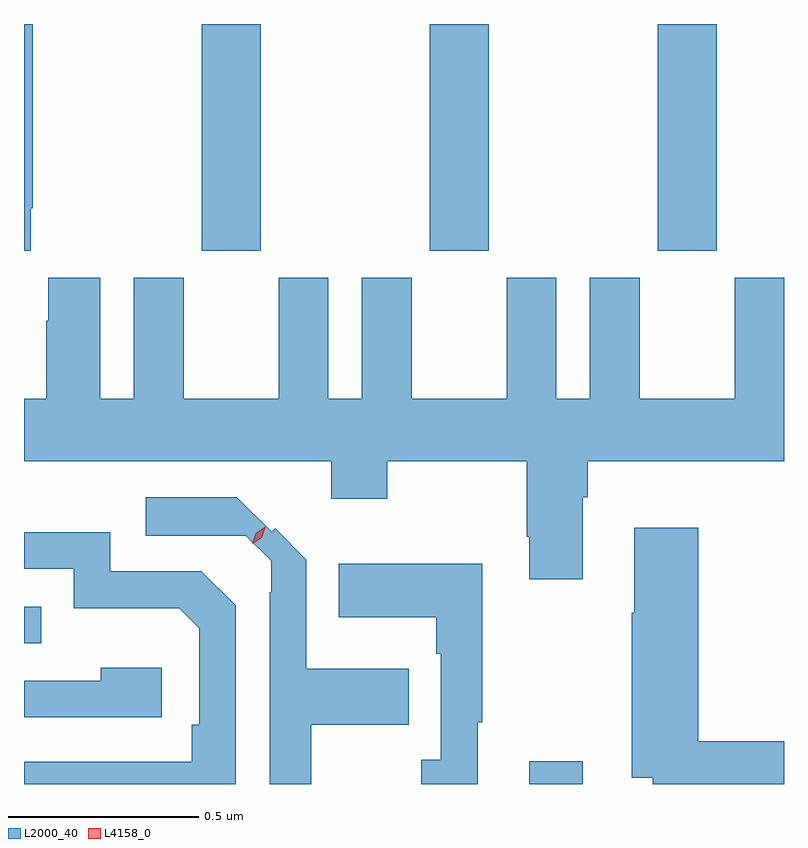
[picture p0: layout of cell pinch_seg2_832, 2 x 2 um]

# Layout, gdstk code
import gdstk
lib = gdstk.Library(unit=1e-6, precision=1e-09)
def R(c, l, rs):  # rectangles x0, y0, x1, y1
    for r in rs: c.add(gdstk.rectangle(r[:2], r[2:], *l))
def A(c, l, x, y, w, h, nx, ny, dx, dy):  # array of equal rectangles
    R(c, l, [(x+i*dx, y+j*dy, x+i*dx+w, y+j*dy+h) for i in range(nx) for j in range(ny)])
def P(c, l, *ps):  # polygons
    for p in ps: c.add(gdstk.Polygon(p, *l))
L2000_40 = (2000, 40)
L4158_0 = (4158, 0)

pinch_seg2_832 = lib.new_cell('pinch_seg2_832')
A(pinch_seg2_832, L2000_40, 681.895, 593.577, 0.155, 0.597, 3, 1, 0.6, 0)
R(pinch_seg2_832, L2000_40, [(682.757,592.174,682.897,592.234), (681.427,592.545,681.473,592.641)])
P(pinch_seg2_832, L2000_40, [(681.445,593.689),(681.45,593.689),(681.45,594.174),(681.427,594.174),(681.427,593.577),(681.445,593.577)],
  [(682.897,592.928),(682.91,592.928),(682.91,593.024),(683.427,593.024),(683.427,593.506),(683.297,593.506),(683.297,593.188),(683.047,593.188),(683.047,593.506),(682.916,593.506),(682.916,593.188),(682.828,593.188),(682.828,593.506),(682.697,593.506),(682.697,593.188),(682.447,593.188),(682.447,593.506),(682.316,593.506),(682.316,593.188),(682.228,593.188),(682.228,593.506),(682.097,593.506),(682.097,593.188),(681.847,593.188),(681.847,593.506),(681.716,593.506),(681.716,593.188),(681.628,593.188),(681.628,593.506),(681.491,593.506),(681.491,593.393),(681.485,593.393),(681.485,593.188),(681.427,593.188),(681.427,593.024),(682.235,593.024),(682.235,592.925),(682.383,592.925),(682.383,593.024),(682.75,593.024),(682.75,592.825),(682.757,592.825),(682.757,592.713),(682.897,592.713)],
  [(682.183,592.33),(682.439,592.33),(682.439,592.477),(682.17,592.477),(682.17,592.764),(682.088,592.847),(682.079,592.838),(681.987,592.929),(681.747,592.929),(681.747,592.827),(682.011,592.827),(682.077,592.761),(682.077,592.679),(682.074,592.679),(682.074,592.174),(682.183,592.174)],
  [(683.427,592.286),(683.201,592.286),(683.201,592.849),(683.033,592.849),(683.033,592.625),(683.026,592.625),(683.026,592.19),(683.082,592.19),(683.082,592.174),(683.427,592.174)],
  [(681.984,592.644),(681.894,592.734),(681.654,592.734),(681.654,592.836),(681.427,592.836),(681.427,592.74),(681.558,592.74),(681.558,592.637),(681.835,592.637),(681.888,592.584),(681.888,592.33),(681.868,592.33),(681.868,592.233),(681.427,592.233),(681.427,592.174),(681.984,592.174)],
  [(682.621,592.337),(682.633,592.337),(682.633,592.753),(682.255,592.753),(682.255,592.613),(682.512,592.613),(682.512,592.517),(682.524,592.517),(682.524,592.238),(682.473,592.238),(682.473,592.174),(682.621,592.174)],
  [(681.79,592.48),(681.629,592.48),(681.629,592.446),(681.427,592.446),(681.427,592.35),(681.79,592.35)])
P(pinch_seg2_832, L4158_0, [(682.028,592.806),(682.028,592.806),(682.037,592.834),(682.062,592.851),(682.062,592.851),(682.062,592.85),(682.053,592.822),(682.029,592.806)])

lib.write_gds('pinch_seg2_832.gds')
